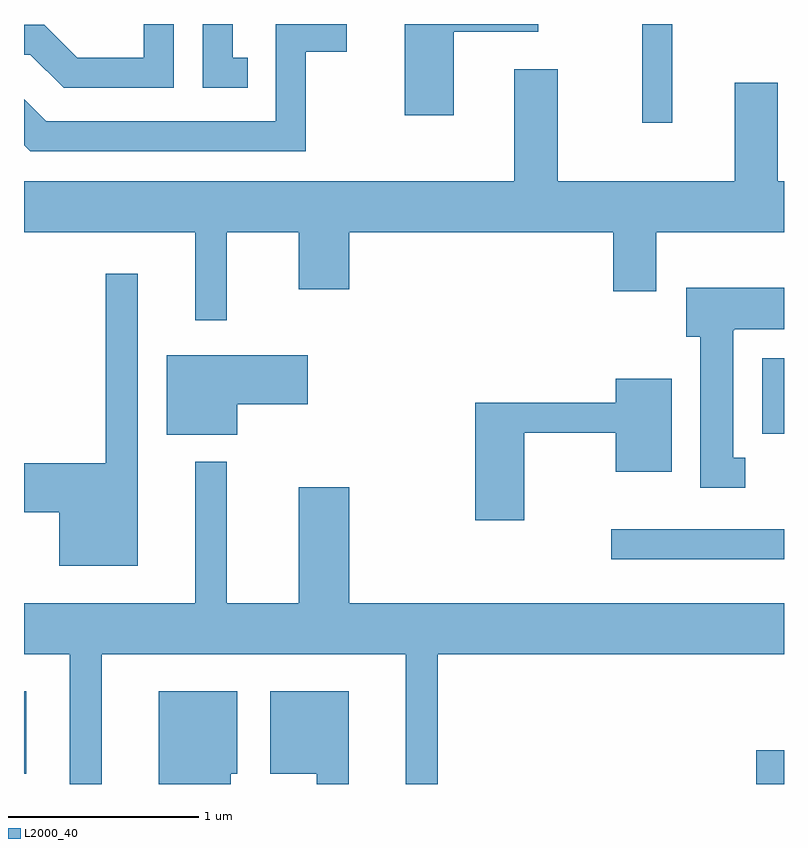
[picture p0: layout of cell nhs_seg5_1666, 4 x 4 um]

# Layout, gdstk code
import gdstk
lib = gdstk.Library(unit=1e-6, precision=1e-09)
def R(c, l, rs):  # rectangles x0, y0, x1, y1
    for r in rs: c.add(gdstk.rectangle(r[:2], r[2:], *l))
def P(c, l, *ps):  # polygons
    for p in ps: c.add(gdstk.Polygon(p, *l))
L2000_40 = (2000, 40)

nhs_seg5_1666 = lib.new_cell('nhs_seg5_1666')
R(nhs_seg5_1666, L2000_40, [(237.466,1496.072,237.611,1496.249), (233.611,1496.126,233.624,1496.559), (236.703,1497.256,237.611,1497.414), (237.496,1497.916,237.611,1498.314), (236.866,1499.553,237.024,1500.072)])
P(nhs_seg5_1666, L2000_40, [(234.399,1500.072),(234.241,1500.072),(234.241,1499.894),(233.892,1499.894),(233.717,1500.069),(233.611,1500.069),(233.611,1499.911),(233.644,1499.911),(233.819,1499.736),(234.399,1499.736)],
  [(235.874,1500.031),(236.318,1500.031),(236.318,1500.072),(235.616,1500.072),(235.616,1499.591),(235.874,1499.591)],
  [(235.094,1499.926),(235.309,1499.926),(235.309,1500.072),(234.936,1500.072),(234.936,1499.559),(233.727,1499.559),(233.611,1499.675),(233.611,1499.434),(233.644,1499.401),(235.094,1499.401)],
  [(234.788,1499.894),(234.709,1499.894),(234.709,1500.072),(234.551,1500.072),(234.551,1499.736),(234.788,1499.736)],
  [(233.611,1498.976),(234.511,1498.976),(234.511,1498.513),(234.679,1498.513),(234.679,1498.976),(235.056,1498.976),(235.056,1498.676),(235.324,1498.676),(235.324,1498.976),(236.711,1498.976),(236.711,1498.666),(236.939,1498.666),(236.939,1498.976),(237.611,1498.976),(237.611,1499.244),(237.579,1499.244),(237.579,1499.764),(237.351,1499.764),(237.351,1499.244),(236.419,1499.244),(236.419,1499.834),(236.191,1499.834),(236.191,1499.244),(233.611,1499.244)],
  [(234.209,1498.758),(234.041,1498.758),(234.041,1497.759),(233.611,1497.759),(233.611,1497.501),(233.796,1497.501),(233.796,1497.221),(234.209,1497.221)],
  [(237.408,1497.789),(237.344,1497.789),(237.344,1498.46),(237.35,1498.46),(237.35,1498.466),(237.611,1498.466),(237.611,1498.684),(237.096,1498.684),(237.096,1498.426),(237.171,1498.426),(237.171,1497.631),(237.408,1497.631)],
  [(234.734,1498.071),(235.104,1498.071),(235.104,1498.329),(234.361,1498.329),(234.361,1497.911),(234.734,1497.911)],
  [(236.244,1497.921),(236.726,1497.921),(236.726,1497.716),(237.019,1497.716),(237.019,1498.204),(236.726,1498.204),(236.726,1498.079),(235.986,1498.079),(235.986,1497.461),(236.244,1497.461)],
  [(234.019,1496.756),(235.621,1496.756),(235.621,1496.072),(235.789,1496.072),(235.789,1496.756),(237.611,1496.756),(237.611,1497.024),(235.324,1497.024),(235.324,1497.634),(235.056,1497.634),(235.056,1497.024),(234.679,1497.024),(234.679,1497.768),(234.511,1497.768),(234.511,1497.024),(233.611,1497.024),(233.611,1496.756),(233.851,1496.756),(233.851,1496.072),(234.019,1496.072)],
  [(235.319,1496.559),(234.906,1496.559),(234.906,1496.126),(235.151,1496.126),(235.151,1496.072),(235.319,1496.072)],
  [(234.699,1496.126),(234.734,1496.126),(234.734,1496.559),(234.321,1496.559),(234.321,1496.072),(234.699,1496.072)])

lib.write_gds('nhs_seg5_1666.gds')
